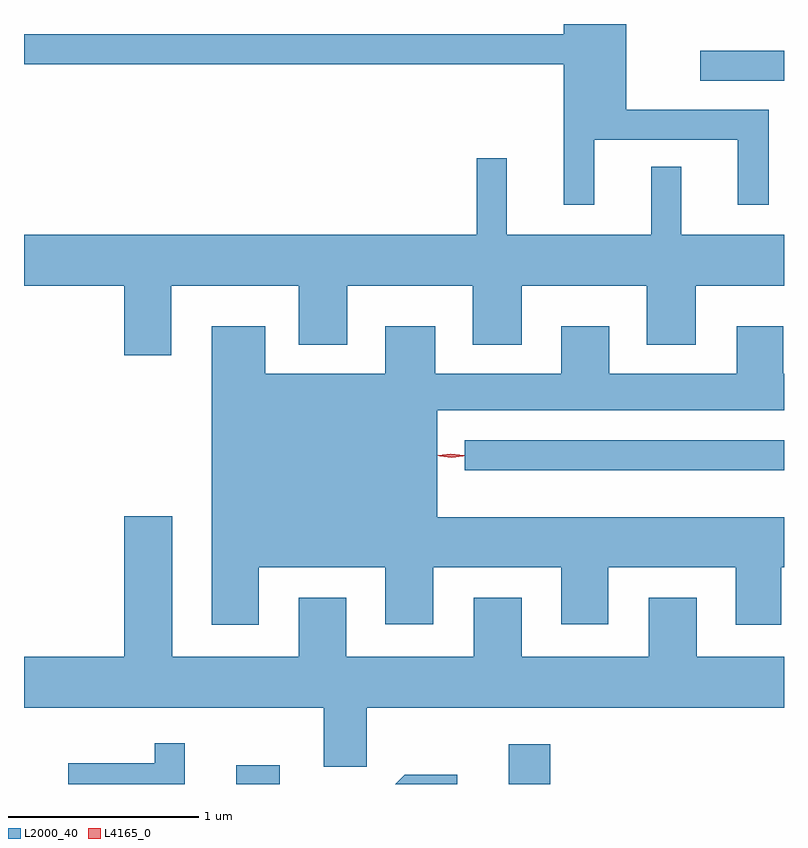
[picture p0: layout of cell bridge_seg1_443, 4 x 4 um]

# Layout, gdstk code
import gdstk
lib = gdstk.Library(unit=1e-6, precision=1e-09)
def R(c, l, rs):  # rectangles x0, y0, x1, y1
    for r in rs: c.add(gdstk.rectangle(r[:2], r[2:], *l))
def P(c, l, *ps):  # polygons
    for p in ps: c.add(gdstk.Polygon(p, *l))
L2000_40 = (2000, 40)
L4165_0 = (4165, 0)

bridge_seg1_443 = lib.new_cell('bridge_seg1_443')
R(bridge_seg1_443, L2000_40, [(343.341,848.114,343.569,848.214), (344.776,848.114,344.994,848.324), (344.543,849.766,346.224,849.924), (345.783,851.816,346.224,851.974)])
P(bridge_seg1_443, L2000_40, [(345.224,851.506),(345.981,851.506),(345.981,851.163),(346.144,851.163),(346.144,851.664),(345.394,851.664),(345.394,852.114),(345.066,852.114),(345.066,852.059),(342.224,852.059),(342.224,851.901),(345.066,851.901),(345.066,851.163),(345.224,851.163)],
  [(342.999,850.736),(343.671,850.736),(343.671,850.426),(343.924,850.426),(343.924,850.736),(344.586,850.736),(344.586,850.426),(344.844,850.426),(344.844,850.736),(345.501,850.736),(345.501,850.426),(345.759,850.426),(345.759,850.736),(346.224,850.736),(346.224,851.004),(345.684,851.004),(345.684,851.363),(345.526,851.363),(345.526,851.004),(344.764,851.004),(344.764,851.408),(344.606,851.408),(344.606,851.004),(342.224,851.004),(342.224,850.736),(342.751,850.736),(342.751,850.371),(342.999,850.371)],
  [(343.459,849.256),(344.126,849.256),(344.126,848.956),(344.379,848.956),(344.379,849.256),(345.051,849.256),(345.051,848.956),(345.299,848.956),(345.299,849.256),(345.971,849.256),(345.971,848.951),(346.209,848.951),(346.209,849.256),(346.224,849.256),(346.224,849.519),(344.399,849.519),(344.399,850.081),(346.224,850.081),(346.224,850.274),(346.219,850.274),(346.219,850.524),(345.976,850.524),(345.976,850.274),(345.304,850.274),(345.304,850.524),(345.051,850.524),(345.051,850.274),(344.389,850.274),(344.389,850.524),(344.126,850.524),(344.126,850.274),(343.494,850.274),(343.494,850.524),(343.211,850.524),(343.211,848.951),(343.459,848.951)],
  [(344.029,848.516),(346.224,848.516),(346.224,848.784),(345.764,848.784),(345.764,849.094),(345.511,849.094),(345.511,848.784),(344.844,848.784),(344.844,849.094),(344.591,849.094),(344.591,848.784),(343.919,848.784),(343.919,849.094),(343.671,849.094),(343.671,848.784),(343.004,848.784),(343.004,849.524),(342.751,849.524),(342.751,848.784),(342.224,848.784),(342.224,848.516),(343.801,848.516),(343.801,848.206),(344.029,848.206)],
  [(343.069,848.328),(342.911,848.328),(342.911,848.224),(342.456,848.224),(342.456,848.114),(343.069,848.114)],
  [(344.503,848.164),(344.229,848.164),(344.179,848.114),(344.503,848.114)])
P(bridge_seg1_443, L4165_0, [(344.474,849.83),(344.412,849.84),(344.412,849.84),(344.412,849.84),(344.474,849.85),(344.536,849.841),(344.537,849.84),(344.536,849.84)],
  [(344.471,849.833),(344.403,849.842),(344.402,849.843),(344.403,849.843),(344.471,849.853),(344.54,849.843),(344.54,849.843),(344.54,849.842)])

lib.write_gds('bridge_seg1_443.gds')
